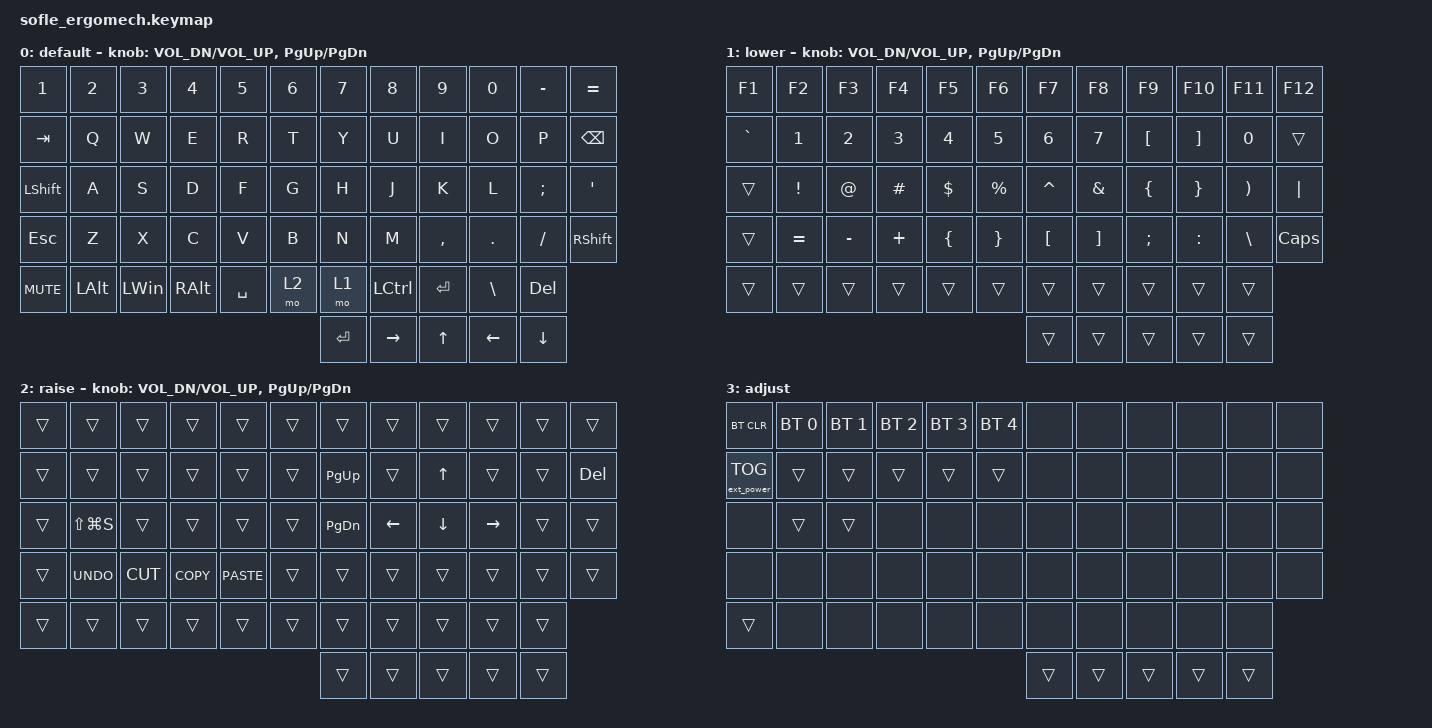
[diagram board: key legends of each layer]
/*
 * Copyright (c) 2020 The ZMK Contributors
 *
 * SPDX-License-Identifier: MIT
 */

#include <behaviors.dtsi>
#include <dt-bindings/zmk/bt.h>
#include <dt-bindings/zmk/ext_power.h>
#include <dt-bindings/zmk/keys.h>

#define BASE 0
#define LOWER 1
#define RAISE 2
#define ADJUST 3

/ {
    // Activate ADJUST layer by pressing raise and lower

    conditional_layers {
        compatible = "zmk,conditional-layers";

        adjust_layer {
            if-layers = <LOWER RAISE>;
            then-layer = <ADJUST>;
        };
    };

    keymap {
        compatible = "zmk,keymap";

        default_layer {
            label = "default";

            // ------------------------------------------------------------------------------------------------------------
            // |   `   |  1  |  2  |  3   |  4   |  5   |                   |  6   |  7    |  8    |  9   |   0   |       |
            // |  ESC  |  Q  |  W  |  E   |  R   |  T   |                   |  Y   |  U    |  I    |  O   |   P   | BKSPC |
            // |  TAB  |  A  |  S  |  D   |  F   |  G   |                   |  H   |  J    |  K    |  L   |   ;   |   '   |
            // | SHIFT |  Z  |  X  |  C   |  V   |  B   |  MUTE  |  |       |  N   |  M    |  ,    |  .   |   /   | SHIFT |
            //               | GUI | ALT  | CTRL | LOWER|  ENTER |  | SPACE | RAISE| CTRL  | ALT   | GUI  |

            bindings = <
&kp NUMBER_1    &kp NUMBER_2  &kp NUMBER_3  &kp NUMBER_4  &kp N5     &kp NUMBER_6  &kp N7     &kp N8     &kp N9        &kp N0         &kp MINUS   &kp EQUAL
&kp TAB         &kp Q         &kp W         &kp E         &kp R      &kp T         &kp Y      &kp U      &kp I         &kp O          &kp P       &kp BSPC
&kp LEFT_SHIFT  &kp A         &kp S         &kp D         &kp F      &kp G         &kp H      &kp J      &kp K         &kp L          &kp SEMI    &kp APOSTROPHE
&kp ESCAPE      &kp Z         &kp X         &kp C         &kp V      &kp B         &kp N      &kp M      &kp COMMA     &kp DOT        &kp FSLH    &kp RSHFT
&kp C_MUTE      &kp LALT      &kp LEFT_WIN  &kp RALT      &kp SPACE  &mo 2         &mo 1      &kp LCTRL  &kp ENTER     &kp BACKSLASH  &kp DELETE
                                                                                   &kp ENTER  &kp RIGHT  &kp UP_ARROW  &kp LEFT       &kp DOWN
            >;

            sensor-bindings = <&inc_dec_kp C_VOL_DN C_VOL_UP &inc_dec_kp PG_UP PG_DN>;
        };

        lower_layer {
            label = "lower";

            // TODO: Some binds are waiting for shifted keycode support.
            // ------------------------------------------------------------------------------------------------------------
            // |       |  F1 |  F2 |  F3  |  F4  |  F5  |                   |  F6  |  F7   |  F8   |  F9  |  F10  |  F11  |
            // |   `   |  1  |  2  |  3   |  4   |  5   |                   |  6   |  7    |  8    |  9   |   0   |  F12  |
            // |       |  !  |  @  |  #   |  $   |  %   |                   |  ^   |  &    |  *    |  (   |   )   |   |   |
            // |       |  =  |  -  |  +   |  {   |  }   |        |  |       |  [   |  ]    |  ;    |  :   |   \   |       |
            //               |     |      |      |      |        |  |       |      |       |       |      |

            bindings = <
&kp F1     &kp F2     &kp F3     &kp F4    &kp F5    &kp F6     &kp F7     &kp F8    &kp F9            &kp F10            &kp F11   &kp F12
&kp GRAVE  &kp N1     &kp N2     &kp N3    &kp N4    &kp N5     &kp N6     &kp N7    &kp LEFT_BRACKET  &kp RIGHT_BRACKET  &kp N0    &trans
&trans     &kp EXCL   &kp AT     &kp HASH  &kp DLLR  &kp PRCNT  &kp CARET  &kp AMPS  &kp LEFT_BRACE    &kp RIGHT_BRACE    &kp RPAR  &kp PIPE
&trans     &kp EQUAL  &kp MINUS  &kp PLUS  &kp LBRC  &kp RBRC   &kp LBKT   &kp RBKT  &kp SEMI          &kp COLON          &kp BSLH  &kp CAPSLOCK
&trans     &trans     &trans     &trans    &trans    &trans     &trans     &trans    &trans            &trans             &trans
                                                                &trans     &trans    &trans            &trans             &trans
            >;

            sensor-bindings = <&inc_dec_kp C_VOL_DN C_VOL_UP &inc_dec_kp PG_UP PG_DN>;
        };

        raise_layer {
            label = "raise";

            // ------------------------------------------------------------------------------------------------------------
            // | BTCLR | BT1  | BT2  |  BT3  |  BT4  |  BT5 |                |      |      |       |      |       |       |
            // |       | INS  | PSCR | GUI   |       |      |                | PGUP |      |   ^   |      |       |       |
            // |       | ALT  | CTRL | SHIFT |       | CAPS |                | PGDN |   <- |   v   |  ->  |  DEL  | BKSPC |
            // |       | UNDO | CUT  | COPY  | PASTE |      |      |  |      |      |      |       |      |       |       |
            //                |      |       |       |      |      |  |      |      |      |       |      |

            bindings = <
&trans  &trans         &trans     &trans      &trans       &trans  &trans     &trans    &trans    &trans     &trans  &trans
&trans  &trans         &trans     &trans      &trans       &trans  &kp PG_UP  &trans    &kp UP    &trans     &trans  &kp DEL
&trans  &kp LS(LG(S))  &trans     &trans      &trans       &trans  &kp PG_DN  &kp LEFT  &kp DOWN  &kp RIGHT  &trans  &trans
&trans  &kp K_UNDO     &kp K_CUT  &kp K_COPY  &kp K_PASTE  &trans  &trans     &trans    &trans    &trans     &trans  &trans
&trans  &trans         &trans     &trans      &trans       &trans  &trans     &trans    &trans    &trans     &trans
                                                                   &trans     &trans    &trans    &trans     &trans
            >;

            sensor-bindings = <&inc_dec_kp C_VOL_DN C_VOL_UP &inc_dec_kp PG_UP PG_DN>;
        };

        adjust_layer {
            // ----------------------------------------------------------------------------------------------------------------------------
            // | BTCLR  |  BT1    |  BT2    |   BT3   |   BT4   |   BT5   |                  |      |      |       |      |       |       |
            // | EXTPWR | RGB_HUD | RGB_HUI | RGB_SAD | RGB_SAI | RGB_EFF |                  |      |      |       |      |       |       |
            // |        | RGB_BRD | RGB_BRI |         |         |         |                  |      |      |       |      |       |       |
            // |        |         |         |         |         |         | RGB_TOG | |      |      |      |       |      |       |       |
            //                    |         |         |         |         |         | |      |      |      |       |      |

            label = "adjust";
            bindings = <
&bt BT_CLR         &bt BT_SEL 0  &bt BT_SEL 1  &bt BT_SEL 2  &bt BT_SEL 3  &bt BT_SEL 4  &none   &none   &none   &none   &none   &none
&ext_power EP_TOG  &trans        &trans        &trans        &trans        &trans        &none   &none   &none   &none   &none   &none
&none              &trans        &trans        &none         &none         &none         &none   &none   &none   &none   &none   &none
&none              &none         &none         &none         &none         &none         &none   &none   &none   &none   &none   &none
&trans             &none         &none         &none         &none         &none         &none   &none   &none   &none   &none
                                                                                         &trans  &trans  &trans  &trans  &trans
            >;
        };
    };
};
